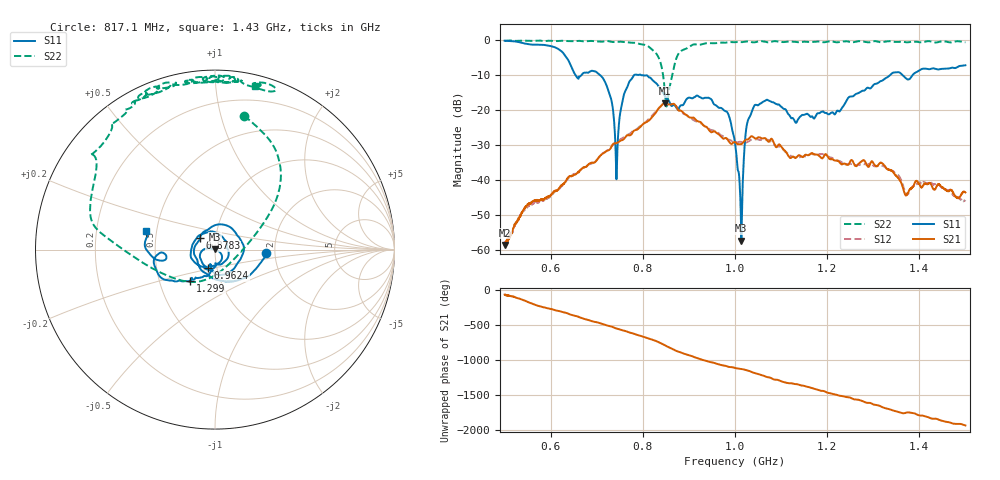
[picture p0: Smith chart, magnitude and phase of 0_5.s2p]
!Agilent Technologies,E8364B,US42250235,A.06.04.32
!Agilent E8364B: A.06.04.32
!Date: Thursday, October 01, 2020 13:15:21
!Correction: S11(Full 2 Port(1,2)) S21(Full 2 Port(1,2)) S12(Full 2 Port(1,2)) S22(Full 2 Port(1,2))
!S2P File: Measurements: S11, S21, S12, S22:
# Hz S  dB  R 50
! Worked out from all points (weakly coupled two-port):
!   2650 points, 500 MHz to 1.5 GHz, reference 50 ohm
!   highest |S21| = -18.03 dB at 847.3 MHz (marker M1); lowest = -58.6 dB at 500.4 MHz (marker M2)
!   lowest |S11| = -57.5 dB at 1.014 GHz (marker M3), VSWR 1.00, Z = 50 + j0.128 ohm
!   |S11| at or under -10 dB: 707.3 MHz to 781.1 MHz (73.76 MHz wide, 9.91 % of centre); 796.5 MHz to 1.336 GHz (540 MHz wide, 50.6 % of centre); 1.364 GHz to 1.385 GHz (21.57 MHz wide, 1.57 % of centre) (the widest 3 of 4)
!   |S22| runs from -19.0 to -0.1 dB; largest |S21 - S12| = 0.014
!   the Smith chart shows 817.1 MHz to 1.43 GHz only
!   S11 on the Smith chart (normalised r, x): 817.1 MHz: 1.80, -0.08; 878.3 MHz: 0.84, +0.11; 962.4 MHz: 0.91, -0.19; 1.299 GHz: 0.72, -0.26; 1.43 GHz: 0.44, +0.11
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5e8  -0.15 -175.2  -58.10 -70.1  -58.70 -81.9  -0.19 137.2
5.003775e8  -0.15 -175.3  -58.65 -77.4  -58.98 -79.1  -0.19 137.1
6.068328e8  -1.92 113.2  -43.36 72.5  -43.63 71.5  -0.24 129.6
6.381653e8  -5.70 77.4  -39.28 16.4  -39.50 16.0  -0.25 126.1
6.668554e8  -9.97 92.5  -36.90 -44.3  -36.88 -42.0  -0.26 123.2
7.174405e8  -11.83 35.7  -32.11 -141.5  -32.08 -137.3  -0.31 111.6
7.431106e8  -38.94 -139.0  -29.47 164.8  -29.33 172.3  -0.49 107.2
7.687807e8  -12.45 107.9  -27.19 111.6  -26.96 117.5  -0.62 102.6
8.171008e8  -10.83 -4.2  -22.45 12.9  -22.09 17.4  -2.34 77.7
8.337108e8  -13.15 -48.2  -19.63 -28.2  -19.62 -24.6  -4.83 50.4
8.473009e8  -15.84 -93.0  -18.03 -74.5  -18.05 -69.6  -14.03 13.0
8.782559e8  -19.54 143.1  -20.18 -167.5  -19.83 -163.6  -3.70 171.1
9.624387e8  -19.10 -109.8  -26.75 17.7  -26.42 25.6  -0.79 122.6
1.000189e9  -29.55 167.2  -29.18 -38.5  -29.09 -33.3  -0.55 118.8
1.013779e9  -57.45 72.7  -29.75 -53.6  -29.16 -53.0  -0.57 115.7
1.025481e9  -24.40 -49.4  -28.45 -72.8  -29.25 -68.7  -0.37 114.6
1.042846e9  -18.57 -106.0  -28.06 -111.5  -28.43 -101.4  -0.61 111.5
1.166667e9  -21.78 -83.9  -32.35 34.6  -32.54 47.3  -0.50 98.3
1.298792e9  -13.09 -128.8  -34.87 164.5  -35.70 178.2  -0.35 83.5
1.333522e9  -10.34 -145.5  -37.09 95.8  -37.18 113.0  -0.30 83.6
1.430162e9  -8.06 164.9  -42.54 -43.8  -41.35 -29.1  -0.56 76.4
1.5e9  -7.18 141.9  -43.59 -139.5  -45.80 -129.3  -0.59 66.9
